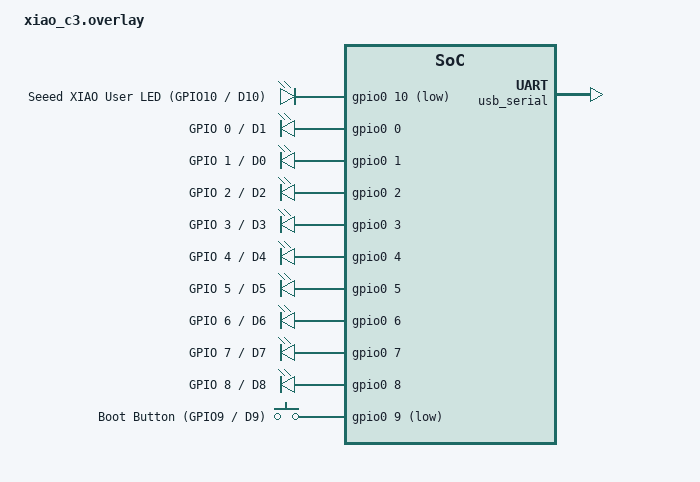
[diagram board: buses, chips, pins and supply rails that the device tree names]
/*
 * Copyright (c) 2024 - 2026 MeshX
 * SPDX-License-Identifier: Apache-2.0
 *
 * Board-specific DeviceTree IO Overlay for Seeed XIAO ESP32-C3 BSP.
 * Defines board-fixed peripherals (User LED, Boot Button, USB CDC Serial)
 * and exposes breakout pins generically by GPIO number (and D0-D8 header pins).
 * Runtime role configuration is driven top-down by MeshX IO firmware and prod_profile.yml.
 */

/ {
	chosen {
		zephyr,console = &usb_serial;
		zephyr,shell-uart = &usb_serial;
	};

	aliases {
		led0 = &yellow_status_led;
		sw0 = &boot_button;

		/* Generic GPIO pin aliases */
		gpio0 = &pin_gpio0;
		gpio1 = &pin_gpio1;
		gpio2 = &pin_gpio2;
		gpio3 = &pin_gpio3;
		gpio4 = &pin_gpio4;
		gpio5 = &pin_gpio5;
		gpio6 = &pin_gpio6;
		gpio7 = &pin_gpio7;
		gpio8 = &pin_gpio8;

		/* XIAO Board Pin Label Aliases (D0 - D8) */
		d0 = &pin_gpio1;
		d1 = &pin_gpio0;
		d2 = &pin_gpio2;
		d3 = &pin_gpio3;
		d4 = &pin_gpio4;
		d5 = &pin_gpio5;
		d6 = &pin_gpio6;
		d7 = &pin_gpio7;
		d8 = &pin_gpio8;
	};

	leds {
		compatible = "gpio-leds";

		yellow_status_led: led_0 {
			gpios = <&gpio0 10 GPIO_ACTIVE_LOW>;
			label = "Seeed XIAO User LED (GPIO10 / D10)";
		};

		/* Generic Breakout GPIO Pin Nodes */
		pin_gpio0: gpio_0 {
			gpios = <&gpio0 0 GPIO_ACTIVE_HIGH>;
			label = "GPIO 0 / D1";
		};

		pin_gpio1: gpio_1 {
			gpios = <&gpio0 1 GPIO_ACTIVE_HIGH>;
			label = "GPIO 1 / D0";
		};

		pin_gpio2: gpio_2 {
			gpios = <&gpio0 2 GPIO_ACTIVE_HIGH>;
			label = "GPIO 2 / D2";
		};

		pin_gpio3: gpio_3 {
			gpios = <&gpio0 3 GPIO_ACTIVE_HIGH>;
			label = "GPIO 3 / D3";
		};

		pin_gpio4: gpio_4 {
			gpios = <&gpio0 4 GPIO_ACTIVE_HIGH>;
			label = "GPIO 4 / D4";
		};

		pin_gpio5: gpio_5 {
			gpios = <&gpio0 5 GPIO_ACTIVE_HIGH>;
			label = "GPIO 5 / D5";
		};

		pin_gpio6: gpio_6 {
			gpios = <&gpio0 6 GPIO_ACTIVE_HIGH>;
			label = "GPIO 6 / D6";
		};

		pin_gpio7: gpio_7 {
			gpios = <&gpio0 7 GPIO_ACTIVE_HIGH>;
			label = "GPIO 7 / D7";
		};

		pin_gpio8: gpio_8 {
			gpios = <&gpio0 8 GPIO_ACTIVE_HIGH>;
			label = "GPIO 8 / D8";
		};
	};

	gpio_keys {
		compatible = "gpio-keys";

		boot_button: button_boot {
			label = "Boot Button (GPIO9 / D9)";
			gpios = <&gpio0 9 (GPIO_PULL_UP | GPIO_ACTIVE_LOW)>;
		};
	};
};

&usb_serial {
	status = "okay";
};
